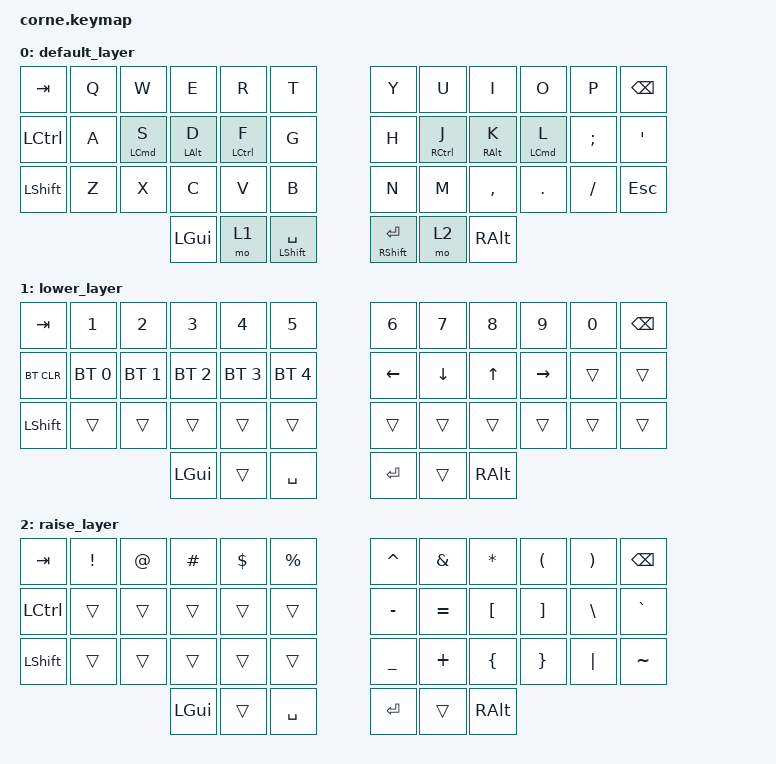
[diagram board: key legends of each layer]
/*
 * Copyright (c) 2020 The ZMK Contributors
 *
 * SPDX-License-Identifier: MIT
 */

#include <behaviors.dtsi>
#include <dt-bindings/zmk/bt.h>
#include <dt-bindings/zmk/keys.h>

/ {
    combos { compatible = "zmk,combos"; };

    behaviors {
        hml: hml {
            compatible = "zmk,behavior-hold-tap";
            label = "HML";
            bindings = <&kp>, <&kp>;

            #binding-cells = <2>;
            require-prior-idle-ms = <150>;
            flavor = "balanced";
            quick-tap-ms = <175>;
            tapping-term-ms = <280>;
            hold-trigger-key-positions = <39 40 41 38 37 36 6 7 8 9 10 11 18 19 20 21 22 23 30 31 32 33 34 35>;
            hold-trigger-on-release;
        };

        hmr: hmr {
            compatible = "zmk,behavior-hold-tap";
            label = "HMR";
            bindings = <&kp>, <&kp>;

            #binding-cells = <2>;
            tapping-term-ms = <280>;
            quick-tap-ms = <175>;
            require-prior-idle-ms = <150>;
            flavor = "balanced";
            hold-trigger-on-release;
            hold-trigger-key-positions = <36 37 38 39 40 41 0 1 2 3 4 5 12 13 14 15 16 17 24 25 26 27 28 29>;
        };
    };

    keymap {
        compatible = "zmk,keymap";

        default_layer {
            // -----------------------------------------------------------------------------------------
            // |  TAB |  Q  |  W  |  E  |  R  |  T  |   |  Y  |  U   |  I  |  O  |  P  | BSPC |
            // | CTRL |  A  |  S  |  D  |  F  |  G  |   |  H  |  J   |  K  |  L  |  ;  |  '   |
            // | SHFT |  Z  |  X  |  C  |  V  |  B  |   |  N  |  M   |  ,  |  .  |  /  | ESC  |
            //                    | GUI | LWR | SPC |   | ENT | RSE  | ALT |

            bindings = <
&kp TAB    &kp Q  &kp W        &kp E        &kp R         &kp T                    &kp Y                   &kp U         &kp I        &kp O        &kp P     &kp BSPC
&kp LCTRL  &kp A  &hml LCMD S  &hml LALT D  &hml LCTRL F  &kp G                    &kp H                   &hmr RCTRL J  &hmr RALT K  &hmr LCMD L  &kp SEMI  &kp SQT
&kp LSHFT  &kp Z  &kp X        &kp C        &kp V         &kp B                    &kp N                   &kp M         &kp COMMA    &kp DOT      &kp FSLH  &kp ESC
                               &kp LGUI     &mo 1         &hml LEFT_SHIFT SPACE    &hmr RIGHT_SHIFT ENTER  &mo 2         &kp RALT
            >;
        };

        lower_layer {
            // -----------------------------------------------------------------------------------------
            // |  TAB |  1  |  2  |  3  |  4  |  5  |   |  6  |  7  |  8  |  9  |  0  | BSPC |
            // | BTCLR| BT1 | BT2 | BT3 | BT4 | BT5 |   | LFT | DWN |  UP | RGT |     |      |
            // | SHFT |     |     |     |     |     |   |     |     |     |     |     |      |
            //                    | GUI |     | SPC |   | ENT |     | ALT |

            bindings = <
&kp TAB     &kp N1        &kp N2        &kp N3        &kp N4        &kp N5          &kp N6    &kp N7    &kp N8    &kp N9     &kp N0  &kp BSPC
&bt BT_CLR  &bt BT_SEL 0  &bt BT_SEL 1  &bt BT_SEL 2  &bt BT_SEL 3  &bt BT_SEL 4    &kp LEFT  &kp DOWN  &kp UP    &kp RIGHT  &trans  &trans
&kp LSHFT   &trans        &trans        &trans        &trans        &trans          &trans    &trans    &trans    &trans     &trans  &trans
                                        &kp LGUI      &trans        &kp SPACE       &kp RET   &trans    &kp RALT
            >;
        };

        raise_layer {
            // -----------------------------------------------------------------------------------------
            // |  TAB |  !  |  @  |  #  |  $  |  %  |   |  ^  |  &  |  *  |  (  |  )  | BSPC |
            // | CTRL |     |     |     |     |     |   |  -  |  =  |  [  |  ]  |  \  |  `   |
            // | SHFT |     |     |     |     |     |   |  _  |  +  |  {  |  }  | "|" |  ~   |
            //                    | GUI |     | SPC |   | ENT |     | ALT |

            bindings = <
&kp TAB    &kp EXCL  &kp AT  &kp HASH  &kp DLLR  &kp PRCNT    &kp CARET  &kp AMPS   &kp ASTRK  &kp LPAR  &kp RPAR  &kp BSPC
&kp LCTRL  &trans    &trans  &trans    &trans    &trans       &kp MINUS  &kp EQUAL  &kp LBKT   &kp RBKT  &kp BSLH  &kp GRAVE
&kp LSHFT  &trans    &trans  &trans    &trans    &trans       &kp UNDER  &kp PLUS   &kp LBRC   &kp RBRC  &kp PIPE  &kp TILDE
                             &kp LGUI  &trans    &kp SPACE    &kp RET    &trans     &kp RALT
            >;
        };
    };
};
